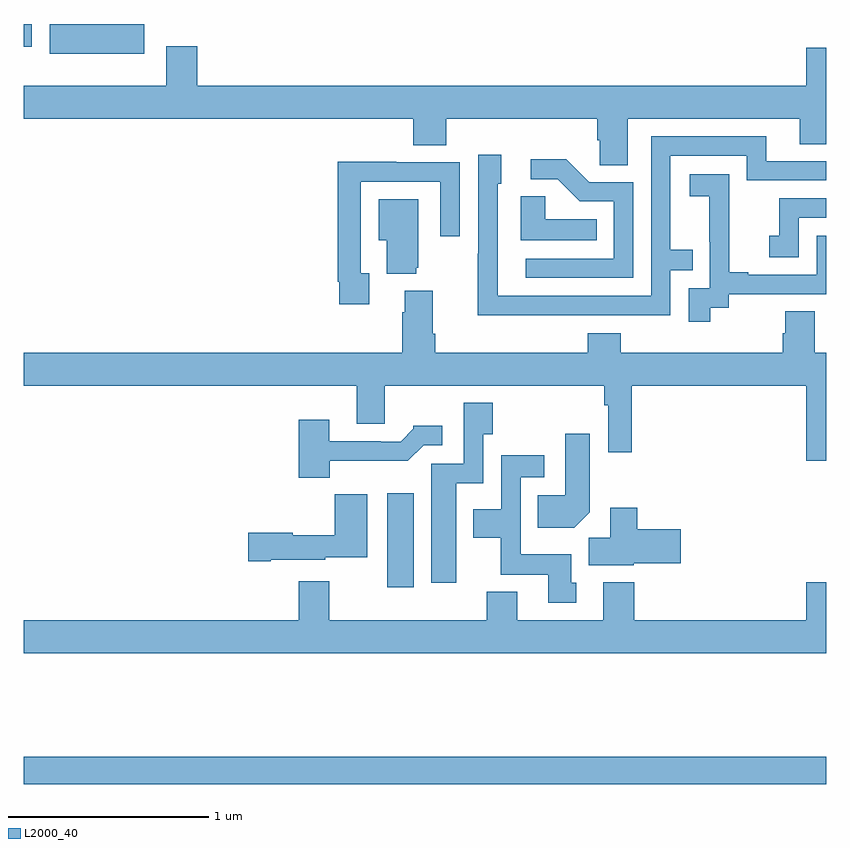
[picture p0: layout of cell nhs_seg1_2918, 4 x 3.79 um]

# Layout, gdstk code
import gdstk
lib = gdstk.Library(unit=1e-6, precision=1e-09)
def R(c, l, rs):  # rectangles x0, y0, x1, y1
    for r in rs: c.add(gdstk.rectangle(r[:2], r[2:], *l))
def P(c, l, *ps):  # polygons
    for p in ps: c.add(gdstk.Polygon(p, *l))
L2000_40 = (2000, 40)

nhs_seg1_2918 = lib.new_cell('nhs_seg1_2918')
R(nhs_seg1_2918, L2000_40, [(269,552.412,273,552.548), (270.812,553.392,270.943,553.861), (269,556.086,269.041,556.199)])
P(nhs_seg1_2918, L2000_40, [(269.602,556.199),(269.468,556.199),(269.468,556.198),(269.129,556.198),(269.129,556.052),(269.602,556.052)],
  [(272.011,555.728),(272.867,555.728),(272.867,555.601),(273,555.601),(273,556.081),(272.9,556.081),(272.9,555.892),(269.864,555.892),(269.864,556.087),(269.711,556.087),(269.711,555.892),(269,555.892),(269,555.728),(270.941,555.728),(270.941,555.595),(271.106,555.595),(271.106,555.728),(271.859,555.728),(271.859,555.619),(271.872,555.619),(271.872,555.496),(272.011,555.496)],
  [(271.727,554.748),(272.223,554.748),(272.223,554.973),(272.333,554.973),(272.333,555.074),(272.223,555.074),(272.223,555.543),(272.604,555.543),(272.604,555.42),(273,555.42),(273,555.516),(272.701,555.516),(272.701,555.639),(272.127,555.639),(272.127,554.844),(271.362,554.844),(271.362,555.402),(271.381,555.402),(271.381,555.547),(271.266,555.547),(271.266,555.053),(271.264,555.053),(271.264,554.747),(271.727,554.747)],
  [(272.037,555.411),(271.818,555.411),(271.705,555.524),(271.527,555.524),(271.527,555.426),(271.661,555.426),(271.772,555.315),(271.941,555.315),(271.941,555.03),(271.503,555.03),(271.503,554.934),(272.037,554.934)],
  [(270.721,554.958),(270.681,554.958),(270.681,555.414),(271.077,555.414),(271.077,555.141),(271.173,555.141),(271.173,555.51),(270.857,555.51),(270.857,555.512),(270.565,555.512),(270.565,554.914),(270.573,554.914),(270.573,554.802),(270.721,554.802)],
  [(272.422,554.785),(272.514,554.785),(272.514,554.853),(273,554.853),(273,555.144),(272.952,555.144),(272.952,554.949),(272.611,554.949),(272.611,554.962),(272.516,554.962),(272.516,555.245),(272.517,555.245),(272.517,555.451),(272.319,555.451),(272.319,555.341),(272.417,555.341),(272.417,555.113),(272.418,555.113),(272.418,554.883),(272.313,554.883),(272.313,554.715),(272.422,554.715)],
  [(271.856,555.226),(271.599,555.226),(271.599,555.341),(271.478,555.341),(271.478,555.122),(271.856,555.122)],
  [(272.862,555.234),(273,555.234),(273,555.33),(272.764,555.33),(272.764,555.145),(272.715,555.145),(272.715,555.036),(272.862,555.036)],
  [(270.956,554.985),(270.967,554.985),(270.967,555.325),(270.77,555.325),(270.77,555.122),(270.809,555.122),(270.809,554.954),(270.956,554.954)],
  [(273,554.56),(272.943,554.56),(272.943,554.768),(272.795,554.768),(272.795,554.658),(272.783,554.658),(272.783,554.56),(271.976,554.56),(271.976,554.659),(271.811,554.659),(271.811,554.56),(271.052,554.56),(271.052,554.656),(271.039,554.656),(271.039,554.869),(270.899,554.869),(270.899,554.762),(270.887,554.762),(270.887,554.56),(269,554.56),(269,554.396),(270.659,554.396),(270.659,554.206),(270.799,554.206),(270.799,554.396),(271.894,554.396),(271.894,554.3),(271.914,554.3),(271.914,554.064),(272.03,554.064),(272.03,554.396),(272.9,554.396),(272.9,554.022),(273,554.022)],
  [(271.156,553.91),(271.29,553.91),(271.29,554.155),(271.338,554.155),(271.338,554.311),(271.194,554.311),(271.194,554.007),(271.031,554.007),(271.031,553.416),(271.156,553.416)],
  [(270.526,554.022),(270.915,554.022),(270.993,554.1),(271.087,554.1),(271.087,554.197),(270.942,554.197),(270.942,554.182),(270.878,554.118),(270.779,554.118),(270.779,554.121),(270.523,554.121),(270.523,554.227),(270.371,554.227),(270.371,553.937),(270.526,553.937)],
  [(271.822,553.766),(271.822,554.158),(271.7,554.158),(271.7,553.852),(271.561,553.852),(271.561,553.688),(271.744,553.688)],
  [(271.753,553.416),(271.729,553.416),(271.729,553.558),(271.476,553.558),(271.476,553.941),(271.594,553.941),(271.594,554.05),(271.38,554.05),(271.38,553.78),(271.241,553.78),(271.241,553.64),(271.378,553.64),(271.378,553.454),(271.613,553.454),(271.613,553.314),(271.753,553.314)],
  [(270.232,553.529),(270.504,553.529),(270.504,553.541),(270.712,553.541),(270.712,553.855),(270.55,553.855),(270.55,553.651),(270.342,553.651),(270.342,553.664),(270.12,553.664),(270.12,553.522),(270.232,553.522)],
  [(272.04,553.511),(272.275,553.511),(272.275,553.682),(272.057,553.682),(272.057,553.789),(271.922,553.789),(271.922,553.64),(271.817,553.64),(271.817,553.502),(272.04,553.502)],
  [(273,553.417),(272.9,553.417),(272.9,553.228),(272.042,553.228),(272.042,553.417),(271.889,553.417),(271.889,553.228),(271.459,553.228),(271.459,553.369),(271.307,553.369),(271.307,553.228),(270.523,553.228),(270.523,553.423),(270.371,553.423),(270.371,553.228),(269,553.228),(269,553.064),(273,553.064)])

lib.write_gds('nhs_seg1_2918.gds')
